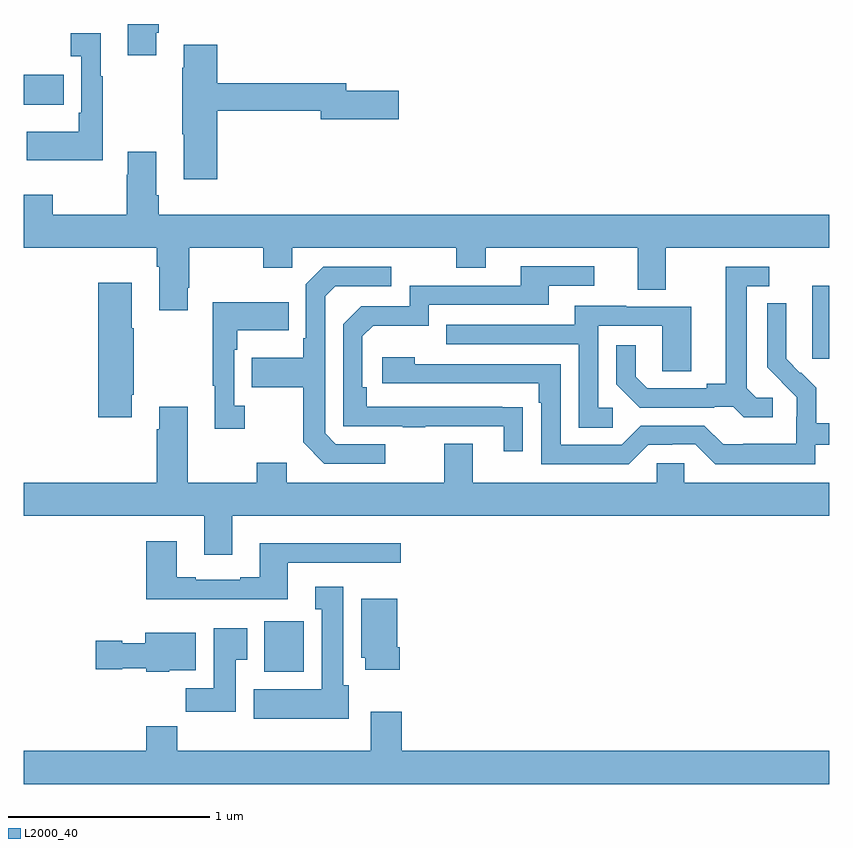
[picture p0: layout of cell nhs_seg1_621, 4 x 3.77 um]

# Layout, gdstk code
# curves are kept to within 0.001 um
import gdstk
lib = gdstk.Library(unit=1e-6, precision=1e-09)
def R(c, l, rs):  # rectangles x0, y0, x1, y1
    for r in rs: c.add(gdstk.rectangle(r[:2], r[2:], *l))
def P(c, l, *ps):  # polygons
    for p in ps: c.add(gdstk.Polygon(p, *l))
L2000_40 = (2000, 40)

nhs_seg1_621 = lib.new_cell('nhs_seg1_621')
R(nhs_seg1_621, L2000_40, [(146.195,526.982,146.391,527.233), (148.916,528.537,149,528.898), (145,529.799,145.199,529.947)])
P(nhs_seg1_621, L2000_40, [(145.657,530.155),(145.67,530.155),(145.67,530.199),(145.517,530.199),(145.517,530.043),(145.657,530.043)],
  [(145.393,529.939),(145.381,529.939),(145.381,530.152),(145.233,530.152),(145.233,530.039),(145.284,530.039),(145.284,529.759),(145.272,529.759),(145.272,529.663),(145.015,529.663),(145.015,529.523),(145.393,529.523)],
  [(145.961,529.768),(146.474,529.768),(146.474,529.726),(146.863,529.726),(146.863,529.868),(146.602,529.868),(146.602,529.904),(145.961,529.904),(145.961,530.095),(145.793,530.095),(145.793,529.982),(145.786,529.982),(145.786,529.651),(145.793,529.651),(145.793,529.428),(145.961,529.428)],
  [(145.813,528.889),(145.821,528.889),(145.821,529.088),(146.188,529.088),(146.188,528.989),(146.334,528.989),(146.334,529.088),(147.148,529.088),(147.148,528.989),(147.295,528.989),(147.295,529.088),(148.049,529.088),(148.049,528.88),(148.189,528.88),(148.189,529.088),(149,529.088),(149,529.252),(145.67,529.252),(145.67,529.348),(145.657,529.348),(145.657,529.564),(145.517,529.564),(145.517,529.451),(145.51,529.451),(145.51,529.252),(145.143,529.252),(145.143,529.351),(145,529.351),(145,529.088),(145.661,529.088),(145.661,528.992),(145.673,528.992),(145.673,528.777),(145.813,528.777)],
  [(147.479,528.296),(146.702,528.297),(146.702,528.394),(146.682,528.394),(146.682,528.648),(146.735,528.701),(147.012,528.701),(147.012,528.804),(147.607,528.804),(147.607,528.9),(147.832,528.9),(147.832,528.996),(147.467,528.996),(147.467,528.9),(146.916,528.9),(146.916,528.798),(146.676,528.798),(146.586,528.708),(146.586,528.201),(146.881,528.201),(146.881,528.196),(146.993,528.196),(146.993,528.201),(147.383,528.201),(147.383,528.078),(147.479,528.078)],
  [(146.794,528.111),(146.55,528.111),(146.496,528.165),(146.496,528.846),(146.547,528.897),(146.824,528.897),(146.824,528.993),(146.487,528.993),(146.4,528.906),(146.4,528.637),(146.388,528.637),(146.388,528.541),(146.131,528.541),(146.131,528.394),(146.388,528.394),(146.388,528.121),(146.493,528.015),(146.794,528.015)],
  [(148.72,528.342),(148.638,528.342),(148.591,528.389),(148.591,528.897),(148.702,528.897),(148.702,528.993),(148.487,528.993),(148.487,528.413),(148.391,528.413),(148.391,528.39),(148.096,528.39),(148.039,528.447),(148.039,528.604),(147.942,528.604),(147.942,528.41),(148.058,528.294),(148.43,528.294),(148.43,528.297),(148.524,528.297),(148.576,528.245),(148.72,528.245)],
  [(145.537,528.358),(145.545,528.358),(145.545,528.689),(145.537,528.689),(145.537,528.913),(145.37,528.913),(145.37,528.246),(145.537,528.246)],
  [(146.098,528.302),(146.046,528.302),(146.046,528.581),(146.059,528.581),(146.059,528.677),(146.315,528.677),(146.315,528.817),(145.938,528.817),(145.938,528.401),(145.949,528.401),(145.949,528.189),(146.098,528.189)],
  [(148.932,528.108),(149,528.108),(149,528.217),(148.937,528.217),(148.937,528.391),(148.86,528.468),(148.857,528.465),(148.787,528.536),(148.788,528.812),(148.692,528.812),(148.692,528.494),(148.838,528.346),(148.838,528.249),(148.836,528.249),(148.836,528.115),(148.573,528.115),(148.573,528.111),(148.473,528.111),(148.38,528.204),(148.065,528.204),(147.969,528.108),(147.666,528.108),(147.666,528.51),(146.942,528.51),(146.942,528.544),(146.781,528.544),(146.781,528.414),(147.557,528.414),(147.557,528.317),(147.57,528.317),(147.57,528.012),(148.005,528.012),(148.101,528.108),(148.22,528.108),(148.22,528.111),(148.335,528.111),(148.435,528.011),(148.932,528.011)],
  [(147.925,528.294),(147.852,528.294),(147.852,528.699),(148.17,528.699),(148.17,528.475),(148.315,528.475),(148.315,528.795),(147.991,528.795),(147.991,528.799),(147.737,528.799),(147.737,528.705),(147.097,528.705),(147.097,528.609),(147.756,528.609),(147.756,528.193),(147.925,528.193)],
  [(146.035,527.756),(149,527.756),(149,527.92),(148.281,527.92),(148.281,528.018),(148.143,528.018),(148.143,527.92),(147.229,527.92),(147.229,528.115),(147.089,528.115),(147.089,527.92),(146.305,527.92),(146.305,528.019),(146.158,528.019),(146.158,527.92),(145.813,527.92),(145.813,528.298),(145.673,528.298),(145.673,528.185),(145.661,528.185),(145.661,527.92),(145,527.92),(145,527.756),(145.895,527.756),(145.895,527.562),(146.035,527.562)],
  [(146.311,527.523),(146.872,527.523),(146.872,527.62),(146.171,527.62),(146.171,527.452),(146.075,527.452),(146.075,527.439),(145.855,527.439),(145.855,527.452),(145.759,527.452),(145.759,527.629),(145.607,527.629),(145.607,527.342),(146.311,527.342)],
  [(146.614,526.914),(146.587,526.914),(146.587,527.404),(146.447,527.404),(146.447,527.291),(146.48,527.291),(146.48,526.894),(146.141,526.894),(146.141,526.748),(146.614,526.748)],
  [(146.867,527.104),(146.854,527.104),(146.854,527.344),(146.675,527.344),(146.675,527.052),(146.696,527.052),(146.696,526.992),(146.867,526.992)],
  [(146.053,527.041),(146.11,527.041),(146.11,527.197),(145.943,527.197),(145.943,526.9),(145.804,526.9),(145.804,526.782),(146.053,526.782)],
  [(145.722,526.988),(145.855,526.988),(145.855,527.176),(145.604,527.176),(145.604,527.122),(145.488,527.122),(145.488,527.135),(145.356,527.135),(145.356,526.993),(145.488,526.993),(145.488,527),(145.608,527),(145.608,526.982),(145.722,526.982)],
  [(149,526.588),(146.876,526.588),(146.876,526.783),(146.723,526.783),(146.723,526.588),(145.763,526.588),(145.763,526.712),(145.607,526.712),(145.607,526.588),(145,526.588),(145,526.424),(149,526.424)])

lib.write_gds('nhs_seg1_621.gds')
